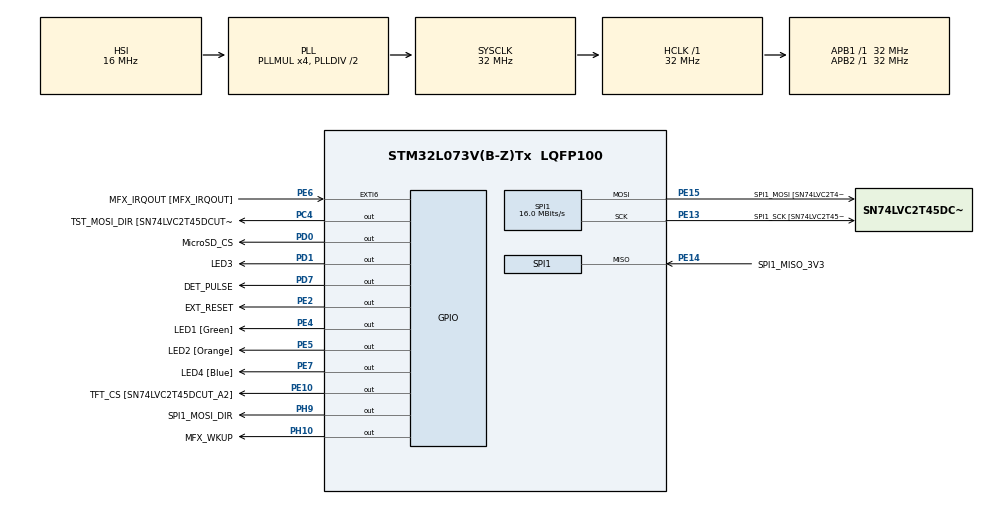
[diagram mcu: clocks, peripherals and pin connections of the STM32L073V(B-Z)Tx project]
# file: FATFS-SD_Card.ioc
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FATFS._USE_LFN=1
FATFS._VOLUMES=2
Mcu.Family=STM32L0
Mcu.Name=STM32L073V(B-Z)Tx
Mcu.Package=LQFP100
PA0.GPIO_Label=PRESSURE [TSZ122IST_1]
PA0.Signal=ADC_IN0
PA11.GPIO_Label=USB_DM
PA11.Signal=USB_DM
PA12.GPIO_Label=USB_DP
PA12.Signal=USB_DP
PA13.GPIO_Label=SWDIO
PA13.Signal=SYS_SWDIO
PA14.GPIO_Label=SWCLK
PA14.Signal=SYS_SWCLK
PA4.GPIO_Label=DAC OUT1
PA4.Signal=COMP_DAC1_group
PA5.GPIO_Label=ADC_IN5
PA5.Signal=ADC_IN5
PA7.GPIO_Label=DET_COMP2_OUT [TP18]
PA7.Signal=COMP2_OUT
PB3.GPIO_Label=DET_COMP2_INM
PB3.Signal=COMP2_INM
PB4.GPIO_Label=DET_COMP2_INP
PB4.Signal=COMP2_INP
PB5.GPIO_Label=TempSensor_INT [STLM75M2F_OS/INT]
PB5.Signal=I2C1_SMBA
PB6.GPIO_Label=I2C1_SCL [STLM75M2F_SCL]
PB6.Signal=I2C1_SCL
PB7.GPIO_Label=I2C1_SDA [STLM75M2F_SDA]
PB7.Signal=I2C1_SDA
PC0.GPIO_Label=DET_LPTIM_CH1 [TS862AIPT_9]
PC0.Signal=LPTIM1_IN1
PC13.GPIO_Label=KEY [B2]
PC13.Signal=SYS_WKUP2
PC14-OSC32_IN.Signal=RCC_OSC32_IN
PC15-OSC32_OUT.Signal=RCC_OSC32_OUT
PC4.GPIO_Label=TST_MOSI_DIR [SN74LVC2T45DCUT_DIR]
PC4.Signal=GPIO_Output
PD0.GPIO_Label=MicroSD_CS
PD0.Signal=GPIO_Output
PD1.GPIO_Label=LED3
PD1.GPIO_ModeDefaultOutputPP=GPIO_MODE_OUTPUT_OD
PD1.Signal=GPIO_Output
PD11.GPIO_Label=LPUART_CTS_3V3 [ST3241EBPR_R4OUT]
PD11.Signal=LPUART1_CTS
PD12.GPIO_Label=LPUART_RTS [SN74LVC2T45DCUT_A2]
PD12.Signal=LPUART1_RTS
PD3.GPIO_Label=USART2_CTS_3V3 [ST3241EBPR_R4OUT]
PD3.Signal=USART2_CTS
PD4.GPIO_Label=USART2_RTS [N74LVC2T45DCUT_A2]
PD4.Signal=USART2_RTS
PD5.GPIO_Label=USART2_TX [N74LVC2T45DCUT_A1]
PD5.Signal=USART2_TX
PD6.GPIO_Label=USART2_RX_3V3 [ST3241EBPR_R3OUT]
PD6.Signal=USART2_RX
PD7.GPIO_Label=DET_PULSE
PD7.GPIO_ModeDefaultOutputPP=GPIO_MODE_OUTPUT_OD
PD7.Signal=GPIO_Output
PD8.GPIO_Label=LPUART_TX [SN74LVC2T45DCUT_A1]
PD8.Signal=LPUART1_TX
PD9.GPIO_Label=LPUART_RX_3V3 [ST3241EBPR_R3OUT]
PD9.Signal=LPUART1_RX
PE10.GPIO_Label=TFT_CS [SN74LVC2T45DCUT_A2]
PE10.Signal=GPIO_Output
PE13.GPIO_Label=SPI1_SCK [SN74LVC2T45DCUT_A1]
PE13.Mode=Full_Duplex_Master
PE13.Signal=SPI1_SCK
PE14.GPIO_Label=SPI1_MISO_3V3
PE14.Mode=Full_Duplex_Master
PE14.Signal=SPI1_MISO
PE15.GPIO_Label=SPI1_MOSI [SN74LVC2T45DCUT_A1]
PE15.Mode=Full_Duplex_Master
PE15.Signal=SPI1_MOSI
PE2.GPIO_Label=EXT_RESET
PE2.Signal=GPIO_Output
PE4.GPIO_Label=LED1 [Green]
PE4.GPIO_ModeDefaultOutputPP=GPIO_MODE_OUTPUT_OD
PE4.Signal=GPIO_Output
PE5.GPIO_Label=LED2 [Orange]
PE5.GPIO_ModeDefaultOutputPP=GPIO_MODE_OUTPUT_OD
PE5.Signal=GPIO_Output
PE6.GPIO_Label=MFX_IRQOUT [MFX_IRQOUT]
PE6.Signal=GPXTI6
PE7.GPIO_Label=LED4 [Blue]
PE7.GPIO_ModeDefaultOutputPP=GPIO_MODE_OUTPUT_OD
PE7.Signal=GPIO_Output
PE8.GPIO_Label=USART4_TX [SN74LVC2T45DCUT_A1]
PE8.Signal=USART4_TX
PE9.GPIO_Label=USART4_RX_3V3
PE9.Signal=USART4_RX
PH10.GPIO_Label=MFX_WKUP
PH10.Signal=GPIO_Output
PH9.GPIO_Label=SPI1_MOSI_DIR
PH9.Signal=GPIO_Output
ProjectManager.HeapSize=0x200
ProjectManager.StackSize=0x400
ProjectManager.TargetToolchain=SW4STM32
RCC.AHBFreq_Value=32000000
RCC.APB1Freq_Value=32000000
RCC.APB1TimFreq_Value=32000000
RCC.APB2Freq_Value=32000000
RCC.APB2TimFreq_Value=32000000
RCC.HCLKFreq_Value=32000000
RCC.HSE_VALUE=8000000
RCC.HSI16_VALUE=16000000
RCC.HSI48_VALUE=48000000
RCC.HSI_VALUE=16000000
RCC.LSE_VALUE=32768
RCC.MSI_VALUE=2097000
RCC.PLLMUL=RCC_PLLMUL_4
RCC.SYSCLKFreq_VALUE=32000000
RCC.SYSCLKSource=RCC_SYSCLKSOURCE_PLLCLK
RCC.VCOOutputFreq_Value=64000000
SH.COMP_DAC1_group.0=DAC_OUT1
SPI1.BaudRatePrescaler=SPI_BAUDRATEPRESCALER_2
SPI1.CalculateBaudRate=16.0 MBits/s
SPI1.Direction=SPI_DIRECTION_2LINES
SPI1.Mode=SPI_MODE_MASTER
SPI1.VirtualType=VM_MASTER
VP_FATFS_VS_Generic.Mode=User_defined
board=STM32L073Z-EVAL

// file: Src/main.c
/**
  ******************************************************************************
  * File Name          : main.c
  * Description        : Main program body
  ******************************************************************************
  * This notice applies to any and all portions of this file
  * that are not between comment pairs USER CODE BEGIN and
  * USER CODE END. Other portions of this file, whether
  * inserted by the user or by software development tools
  * are owned by their respective copyright owners.
  *
  * Copyright (c) 2018 STMicroelectronics International N.V.
  * All rights reserved.
  *
  * Redistribution and use in source and binary forms, with or without
  * modification, are permitted, provided that the following conditions are met:
  *
  * 1. Redistribution of source code must retain the above copyright notice,
  *    this list of conditions and the following disclaimer.
  * 2. Redistributions in binary form must reproduce the above copyright notice,
  *    this list of conditions and the following disclaimer in the documentation
  *    and/or other materials provided with the distribution.
  * 3. Neither the name of STMicroelectronics nor the names of other
  *    contributors to this software may be used to endorse or promote products
  *    derived from this software without specific written permission.
  * 4. This software, including modifications and/or derivative works of this
  *    software, must execute solely and exclusively on microcontroller or
  *    microprocessor devices manufactured by or for STMicroelectronics.
  * 5. Redistribution and use of this software other than as permitted under
  *    this license is void and will automatically terminate your rights under
  *    this license.
  *
  * THIS SOFTWARE IS PROVIDED BY STMICROELECTRONICS AND CONTRIBUTORS "AS IS"
  * AND ANY EXPRESS, IMPLIED OR STATUTORY WARRANTIES, INCLUDING, BUT NOT
  * LIMITED TO, THE IMPLIED WARRANTIES OF MERCHANTABILITY, FITNESS FOR A
  * PARTICULAR PURPOSE AND NON-INFRINGEMENT OF THIRD PARTY INTELLECTUAL PROPERTY
  * RIGHTS ARE DISCLAIMED TO THE FULLEST EXTENT PERMITTED BY LAW. IN NO EVENT
  * SHALL STMICROELECTRONICS OR CONTRIBUTORS BE LIABLE FOR ANY DIRECT, INDIRECT,
  * INCIDENTAL, SPECIAL, EXEMPLARY, OR CONSEQUENTIAL DAMAGES (INCLUDING, BUT NOT
  * LIMITED TO, PROCUREMENT OF SUBSTITUTE GOODS OR SERVICES; LOSS OF USE, DATA,
  * OR PROFITS; OR BUSINESS INTERRUPTION) HOWEVER CAUSED AND ON ANY THEORY OF
  * LIABILITY, WHETHER IN CONTRACT, STRICT LIABILITY, OR TORT (INCLUDING
  * NEGLIGENCE OR OTHERWISE) ARISING IN ANY WAY OUT OF THE USE OF THIS SOFTWARE,
  * EVEN IF ADVISED OF THE POSSIBILITY OF SUCH DAMAGE.
  *
  ******************************************************************************
  */

#include "main.h"
#include "stm32l0xx_hal.h"
#include "fatfs.h"
#include "spi.h"
#include "gpio.h"

/* USER CODE BEGIN Includes */
#include "stm32l073z_eval_lcd.h"
// BSP SD IO Drivers
#include "stm32l073z_eval_sd.h"
#include "sd_diskio.h"
/* USER CODE END Includes */

/* USER CODE BEGIN PV */
/* Private variables ---------------------------------------------------------*/

/* USER CODE END PV */

void SystemClock_Config(void);

/* USER CODE BEGIN PFP */
/* Private function prototypes -----------------------------------------------*/

/* USER CODE END PFP */

/* USER CODE BEGIN 0 */

FRESULT f_open_append(FIL* fp, const char* path) {
    FRESULT fr;

    /* FA_OPEN_ALWAYS: Opens file if existing. If not, a new file is created. */
    /* FA_WRITE: Write access to file */
    fr = f_open(fp, path, FA_OPEN_ALWAYS | FA_WRITE);
    if (fr != FR_OK)
        return fr;

    /* Move file write pointer to the end of the file*/
    fr = f_lseek(fp, f_size(fp));
    if (fr != FR_OK)
        f_close(fp);
    return fr;
}

void WrapText(char *fromText, char *toText, int fromLength, int toLength, int offset) {
    for(int i = 0; i < (toLength - 1); i++) {
        int pos = (i + offset) % fromLength;
        if (fromText[pos] == '\0') {
            // ignore null chars & wrap around
            i--;
            offset++;
            continue;
        }
        toText[i] = fromText[pos];
    }
    toText[toLength - 1] = 0;
}

/* USER CODE END 0 */

int main(void)
{

  /* MCU Configuration----------------------------------------------------------*/

  /* Reset of all peripherals, Initializes the Flash interface and the Systick. */
  HAL_Init();

  /* Configure the system clock */
  SystemClock_Config();

  /* Initialize all configured peripherals */
  MX_GPIO_Init();
  MX_SPI1_Init();
  MX_FATFS_Init();

  /* USER CODE BEGIN 2 */

  // Unlink driver from MX_FATFS_Init
  // Else, the SD card will not init or have no work area (error 12)
  FATFS_UnLinkDriver(USERPath);

  // Turn off LEDs
  BSP_LED_Init(LED1);
  BSP_LED_Init(LED2);
  BSP_LED_Init(LED3);
  BSP_LED_Init(LED4);

  // Setup LCD
  BSP_LCD_Init();
  BSP_LCD_Clear(LCD_COLOR_BLACK);
  BSP_LCD_SetFont(&Font16);
  BSP_LCD_SetBackColor(LCD_COLOR_BLACK);
  BSP_LCD_SetTextColor(LCD_COLOR_CYAN);
  BSP_LCD_DisplayStringAt(0, LINE(0), "FATFS SD Card Testing", CENTER_MODE);

  // Setup SD Card
  BSP_SD_Init();
  while(BSP_SD_IsDetected() == SD_NOT_PRESENT) {
      BSP_LCD_SetTextColor(LCD_COLOR_RED);
      BSP_LCD_DisplayStringAt(0, LINE(1), "Please Insert SD Card", CENTER_MODE);
      HAL_Delay(1000);
  }
  BSP_LCD_SetTextColor(LCD_COLOR_GREEN);
  BSP_LCD_ClearStringLine(1);
  BSP_LCD_DisplayStringAt(0, LINE(1), "SD Card Detected!", CENTER_MODE);
  BSP_LCD_SetTextColor(LCD_COLOR_WHITE);

  /********************************************************/
  // SD CARD SETUP
  /********************************************************/
  FRESULT SDres;    /* Return value for SD */
  char SDPath[4];   /* SD logical drive path */
  FATFS SDFatFS;    /* File system object for SD logical drive */
  FIL SDFile;       /* File object for SD */

  // Link the micro SD disk I/O driver
  SDres = FATFS_LinkDriver(&SD_Driver, SDPath);
  if (SDres != 0) { // Returns 0 if success
      Error_Handler();
  }

  // Register/Init file system object to the FatFs
  SDres = f_mount(&SDFatFS, (TCHAR const*)SDPath, 0);
  if (SDres != FR_OK) {
      Error_Handler();
  }

  /********************************************************/
  // SD CARD WRITING
  /********************************************************/
  SDres = f_open(&SDFile, "WRITE_TEST.TXT", FA_CREATE_ALWAYS | FA_WRITE);
  if (SDres != FR_OK) {
      char buf[15];
      sprintf(buf, "Error: f_open. SDres = %d", SDres);
      BSP_LCD_DisplayStringAtLine(5, buf);
      Error_Handler();
  }

  uint32_t byteswritten;
  uint8_t wtext[] = "Hello world.\nSuccessfully wrote to file using f_write.\n"; /* File write buffer */
  SDres = f_write(&SDFile, wtext, strlen(wtext), &byteswritten);
  if(SDres != FR_OK || byteswritten == 0) {
      f_close(&SDFile);
      Error_Handler();
  }

  SDres = f_puts("Successfully wrote to file using f_puts.\n", &SDFile);
  if(SDres == EOF) {
      f_close(&SDFile);
      Error_Handler();
  }

  SDres = f_printf(&SDFile, "Successfully wrote to file using %s.\n", "f_printf");
  if(SDres == EOF) {
      f_close(&SDFile);
      Error_Handler();
  }

  // Close file after writing
  SDres = f_close(&SDFile);
  if (SDres != FR_OK) {
      Error_Handler();
  }

  /********************************************************/
  // SD CARD READING
  /********************************************************/
  SDres = f_open(&SDFile, "READ_TEST.TXT", FA_READ);
  if (SDres != FR_OK) {
      Error_Handler();
  }

  uint32_t bytesread;
  DWORD filesize = f_size(&SDFile); // Alternatively: DWORD filesize = SDFile.fsize;
  char *rbuffer = calloc(filesize, sizeof(char)); /* File read buffer */

  SDres = f_read(&SDFile, rbuffer, filesize, &bytesread);
  if (SDres != FR_OK || bytesread == 0) {
      f_close(&SDFile);
      Error_Handler();
  }

  // Close file after reading
  SDres = f_close(&SDFile);
  if (SDres != FR_OK) {
      Error_Handler();
  }

  /********************************************************/
  // SD CARD APPEND
  /********************************************************/
  SDres = f_open_append(&SDFile, "COUNT.TXT");
  if (SDres != FR_OK) {
      Error_Handler();
  }

  SDres = f_putc('A', &SDFile);
  if(SDres == EOF) {
      f_close(&SDFile);
      Error_Handler();
  }

  DWORD count = f_size(&SDFile);

  // Close file after reading
  SDres = f_close(&SDFile);
  if (SDres != FR_OK) {
      Error_Handler();
  }

  /* A character is appended on each boot.
   * The number of boots is thus the size of the file. */
  char buf1[100];
  sprintf(buf1, "Number of boots: %d", count);
  BSP_LCD_DisplayStringAt(0, LINE(14), buf1, RIGHT_MODE);

  /********************************************************/
  // SD CARD DE-INIT
  /********************************************************/
  FATFS_UnLinkDriver(SDPath);

  /* USER CODE END 2 */

  /* Infinite loop */
  /* USER CODE BEGIN WHILE */
  BSP_LCD_SetFont(&Font20);

  uint8_t chars_horizontal = (BSP_LCD_GetXSize() / BSP_LCD_GetFont()->Width) + 1;
  char *wrapped_text = calloc(chars_horizontal, sizeof(char));

  while (1) {
      for (int i = 0; i < filesize; i++) {
          WrapText(rbuffer, wrapped_text, filesize, chars_horizontal, i);
          BSP_LCD_DisplayStringAt(0, LINE(5), wrapped_text, LEFT_MODE);
          HAL_Delay(75);
      }
  }

  free(rbuffer);
  /* USER CODE END WHILE */

}

/** System Clock Configuration
*/
void SystemClock_Config(void)
{

  RCC_OscInitTypeDef RCC_OscInitStruct;
  RCC_ClkInitTypeDef RCC_ClkInitStruct;

    /**Configure the main internal regulator output voltage
    */
  __HAL_PWR_VOLTAGESCALING_CONFIG(PWR_REGULATOR_VOLTAGE_SCALE1);

    /**Initializes the CPU, AHB and APB busses clocks
    */
  RCC_OscInitStruct.OscillatorType = RCC_OSCILLATORTYPE_HSI;
  RCC_OscInitStruct.HSIState = RCC_HSI_ON;
  RCC_OscInitStruct.HSICalibrationValue = 16;
  RCC_OscInitStruct.PLL.PLLState = RCC_PLL_ON;
  RCC_OscInitStruct.PLL.PLLSource = RCC_PLLSOURCE_HSI;
  RCC_OscInitStruct.PLL.PLLMUL = RCC_PLLMUL_4;
  RCC_OscInitStruct.PLL.PLLDIV = RCC_PLLDIV_2;
  if (HAL_RCC_OscConfig(&RCC_OscInitStruct) != HAL_OK)
  {
    _Error_Handler(__FILE__, __LINE__);
  }

    /**Initializes the CPU, AHB and APB busses clocks
    */
  RCC_ClkInitStruct.ClockType = RCC_CLOCKTYPE_HCLK|RCC_CLOCKTYPE_SYSCLK
                              |RCC_CLOCKTYPE_PCLK1|RCC_CLOCKTYPE_PCLK2;
  RCC_ClkInitStruct.SYSCLKSource = RCC_SYSCLKSOURCE_PLLCLK;
  RCC_ClkInitStruct.AHBCLKDivider = RCC_SYSCLK_DIV1;
  RCC_ClkInitStruct.APB1CLKDivider = RCC_HCLK_DIV1;
  RCC_ClkInitStruct.APB2CLKDivider = RCC_HCLK_DIV1;

  if (HAL_RCC_ClockConfig(&RCC_ClkInitStruct, FLASH_LATENCY_1) != HAL_OK)
  {
    _Error_Handler(__FILE__, __LINE__);
  }

    /**Configure the Systick interrupt time
    */
  HAL_SYSTICK_Config(HAL_RCC_GetHCLKFreq()/1000);

    /**Configure the Systick
    */
  HAL_SYSTICK_CLKSourceConfig(SYSTICK_CLKSOURCE_HCLK);

  /* SysTick_IRQn interrupt configuration */
  HAL_NVIC_SetPriority(SysTick_IRQn, 0, 0);
}

void _Error_Handler(char * file, int line)
{
  /* USER CODE BEGIN Error_Handler_Debug */
    /* User can add his own implementation to report the HAL error return state */
    char buf[100];
    sprintf(buf, "Error at line %d", line);
    BSP_LCD_SetTextColor(LCD_COLOR_RED);
    BSP_LCD_DisplayStringAtLine(10, buf);
    BSP_LCD_DisplayStringAtLine(11, file);

    while(1) {
        BSP_LED_Toggle(LED_ORANGE);
        HAL_Delay(250);
    }
  /* USER CODE END Error_Handler_Debug */
}

/************************ (C) COPYRIGHT STMicroelectronics *****END OF FILE****/
